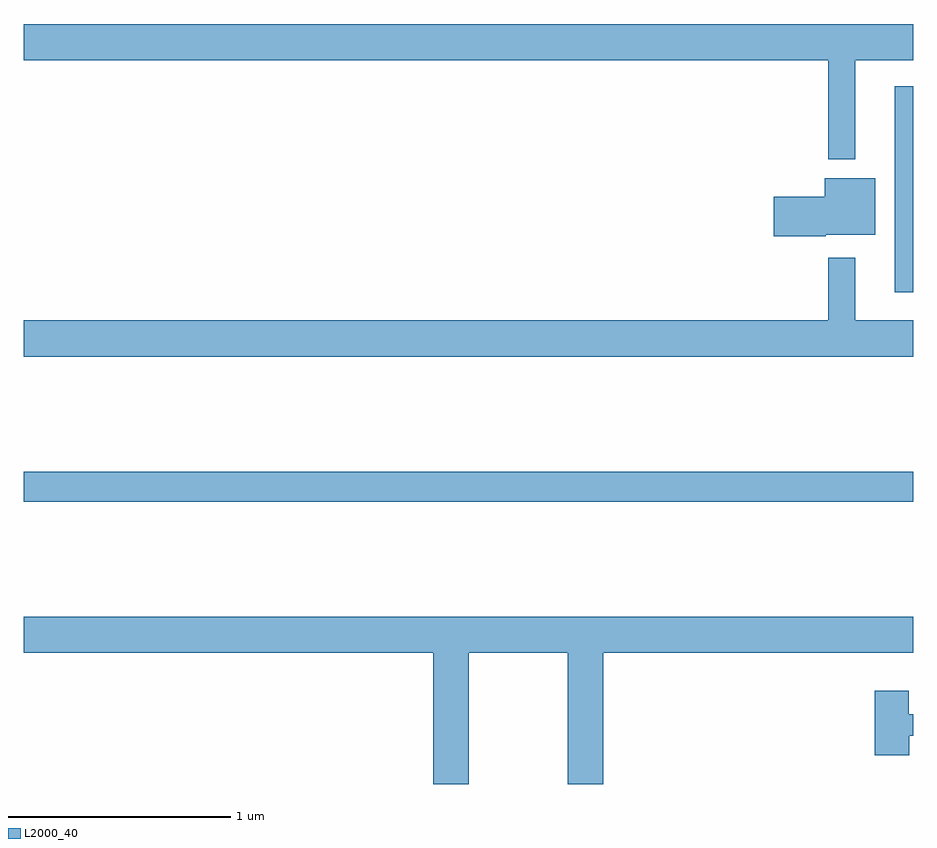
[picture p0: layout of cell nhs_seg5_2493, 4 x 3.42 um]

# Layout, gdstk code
import gdstk
lib = gdstk.Library(unit=1e-6, precision=1e-09)
def R(c, l, rs):  # rectangles x0, y0, x1, y1
    for r in rs: c.add(gdstk.rectangle(r[:2], r[2:], *l))
def P(c, l, *ps):  # polygons
    for p in ps: c.add(gdstk.Polygon(p, *l))
L2000_40 = (2000, 40)

nhs_seg5_2493 = lib.new_cell('nhs_seg5_2493')
R(nhs_seg5_2493, L2000_40, [(255,896.068,259,896.204), (258.917,897.009,259,897.937)])
P(nhs_seg5_2493, L2000_40, [(258.739,898.052),(259,898.052),(259,898.216),(255,898.216),(255,898.052),(258.618,898.052),(258.618,897.608),(258.739,897.608)],
  [(258.606,897.269),(258.829,897.269),(258.829,897.523),(258.602,897.523),(258.602,897.44),(258.372,897.44),(258.372,897.262),(258.606,897.262)],
  [(259,896.884),(258.739,896.884),(258.739,897.166),(258.618,897.166),(258.618,896.884),(255,896.884),(255,896.72),(259,896.72)],
  [(257.001,895.388),(257.446,895.388),(257.446,894.799),(257.606,894.799),(257.606,895.388),(259,895.388),(259,895.552),(255,895.552),(255,895.388),(256.841,895.388),(256.841,894.799),(257.001,894.799)],
  [(258.982,895.016),(259,895.016),(259,895.113),(258.979,895.113),(258.979,895.219),(258.827,895.219),(258.827,894.929),(258.982,894.929)])

lib.write_gds('nhs_seg5_2493.gds')
